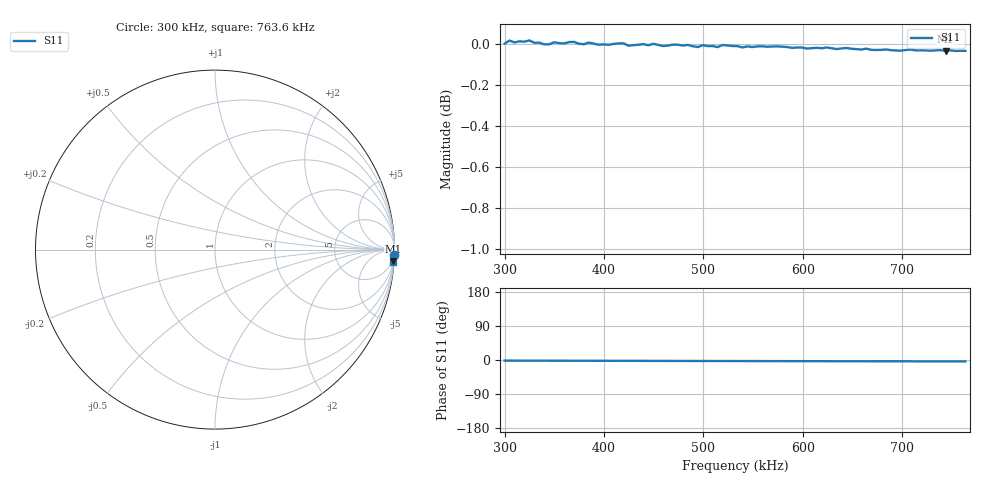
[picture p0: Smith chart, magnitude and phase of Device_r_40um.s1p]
!Agilent Technologies,N5230A,MY45001566,A.07.50.37
!Agilent N5230A: A.07.50.37
!Date: Monday, September 07, 2020 12:03:03
!Correction: S11(Full 1 Port(1))
!S1P File: Measurement: S11:
# Hz S  RI  R 50
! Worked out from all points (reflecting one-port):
!   94 points, 300 kHz to 763.6 kHz, reference 50 ohm
!   lowest |S11| = 0.0 dB at 743.7 kHz (marker M1), VSWR 491.73, Z = 96.8 - j1.54e+03 ohm
!   phase of S11 starts at -2 deg and turns -2 deg over the sweep
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300000  0.9996 -0.0294
304985  1.001 -0.0293
309970  1 -0.0307
314955  1.001 -0.0299
319940  1.001 -0.0314
324925  1.001 -0.0308
329910  1 -0.0325
339880  0.9992 -0.0311
344865  0.9991 -0.0329
349850  1 -0.0334
359820  0.9996 -0.0336
369790  1 -0.0356
394715  0.9987 -0.0371
399700  0.9989 -0.0366
419640  0.9994 -0.0393
424625  0.9981 -0.0397
429610  0.9984 -0.0393
474475  0.9984 -0.0442
494415  0.9971 -0.0453
499400  0.9981 -0.046
514355  0.997 -0.0466
519340  0.9982 -0.0469
534295  0.9975 -0.0486
594115  0.9964 -0.0535
648950  0.9955 -0.0574
708770  0.9948 -0.0621
743665  0.9939 -0.0644
763605  0.9938 -0.0664
